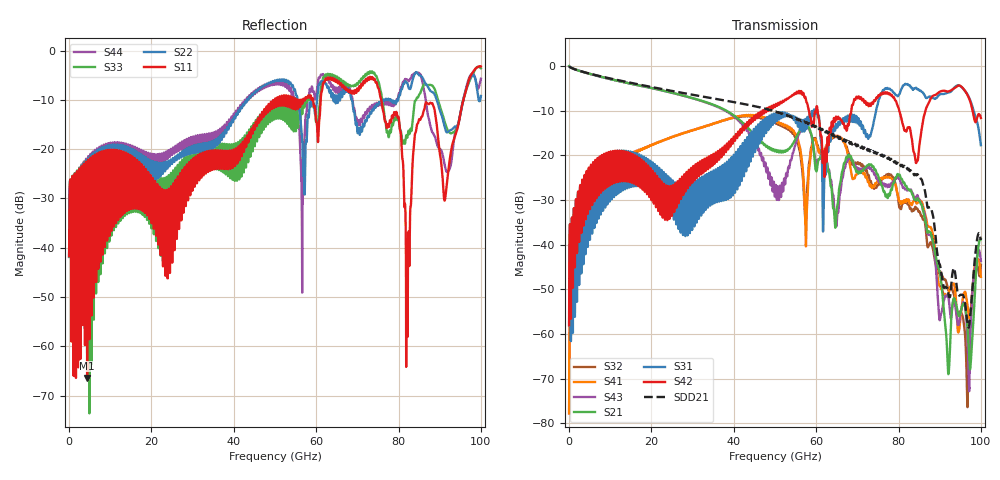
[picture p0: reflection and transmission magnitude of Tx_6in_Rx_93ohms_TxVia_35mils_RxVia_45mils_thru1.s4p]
! Info: Touchstone file created by Circ.  Input file=Tx_6in_Rx_93ohms_TxVia_35mils_RxVia_45mils.circ
# Hz S RI R 50
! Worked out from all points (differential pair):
!   10000 points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, 10 MHz to 100 GHz, reference 50 ohm
!   strongest paths, dB at 10 MHz, 25.01 GHz, 50.01 GHz, 75.01 GHz, 100 GHz:
!     S42: -58.1, -32.9, -9.2, -6.8, -11.7
!     S31: -58.1, -29.2, -12.5, -8.3, -17.8
!     S21: -0.1, -6.0, -19.0, -24.4, -38.8
!     S43: -0.1, -6.0, -28.9, -25.5, -43.7
!     S41: -77.8, -15.9, -12.4, -25.6, -47.2
!     S32: -77.8, -15.9, -12.8, -26.7, -44.6
!   taken as a pair (ports 1,3 in; 2,4 out), SDD21 dB: -0.1, -5.6, -10.2, -19.6, -39.0
!   lowest |S11| = -66.4 dB at 4.39 GHz (marker M1), VSWR 1.00, Z = 50 + j0.0397 ohm
!   |S11| at or under -10 dB: start of sweep to 50 GHz; 59.23 GHz to 61.09 GHz (1.857 GHz wide, 3.09 % of centre); 75.81 GHz to 95.75 GHz (19.94 GHz wide, 23.2 % of centre) (the widest 3 of 17)
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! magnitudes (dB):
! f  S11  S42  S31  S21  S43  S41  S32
! 10 MHz  -41.7  -58.1  -58.1  -0.1  -0.1  -77.8  -77.8
! 4.39 GHz  -66.4  -25.4  -26.0  -1.6  -1.6  -27.9  -28.0
! 73.42 GHz  -5.7  -8.4  -14.7  -22.1  -23.2  -27.0  -26.5
! 82.24 GHz  -51.5  -13.8  -4.1  -27.6  -27.9  -30.3  -31.0
! 86.51 GHz  -10.9  -10.1  -6.9  -34.9  -34.0  -33.4  -35.7
! 92.08 GHz  -24.5  -5.7  -6.0  -69.0  -51.7  -51.3  -50.2
! 100 GHz  -3.2  -11.7  -17.8  -38.8  -43.7  -47.2  -44.6
